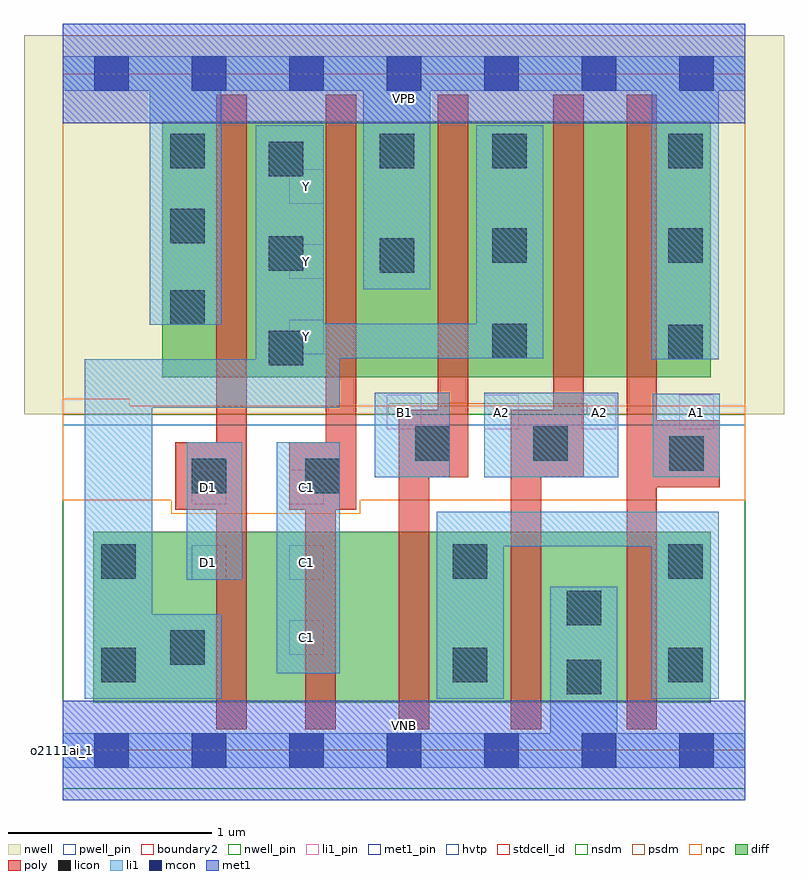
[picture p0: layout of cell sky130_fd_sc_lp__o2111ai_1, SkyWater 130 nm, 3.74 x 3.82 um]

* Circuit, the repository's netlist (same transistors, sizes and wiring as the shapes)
* Copyright 2020 The SkyWater PDK Authors
*
* Licensed under the Apache License, Version 2.0 (the "License");
* you may not use this file except in compliance with the License.
* You may obtain a copy of the License at
*
*     https://www.apache.org/licenses/LICENSE-2.0
*
* Unless required by applicable law or agreed to in writing, software
* distributed under the License is distributed on an "AS IS" BASIS,
* WITHOUT WARRANTIES OR CONDITIONS OF ANY KIND, either express or implied.
* See the License for the specific language governing permissions and
* limitations under the License.
*
* SPDX-License-Identifier: Apache-2.0

.SUBCKT sky130_fd_sc_lp__o2111ai_1 A1 A2 B1 C1 D1 VGND VNB VPB VPWR Y
*.PININFO A1:I A2:I B1:I C1:I D1:I VGND:I VNB:I VPB:I VPWR:I Y:O
MMPA0 VPWR A1 sndA1 VPB sky130_fd_pr__pfet_01v8_hvt m=1 w=1.26U l=0.15U mult=1
+ sa=0.265 sb=0.265 sd=0.28 area=0.063 perim=1.14
MMPA1 sndA1 A2 Y VPB sky130_fd_pr__pfet_01v8_hvt m=1 w=1.26U l=0.15U mult=1 sa=0.265
+ sb=0.265 sd=0.28 area=0.063 perim=1.14
MMPB0 VPWR B1 Y VPB sky130_fd_pr__pfet_01v8_hvt m=1 w=1.26U l=0.15U mult=1 sa=0.265
+ sb=0.265 sd=0.28 area=0.063 perim=1.14
MMPC0 VPWR C1 Y VPB sky130_fd_pr__pfet_01v8_hvt m=1 w=1.26U l=0.15U mult=1 sa=0.265
+ sb=0.265 sd=0.28 area=0.063 perim=1.14
MMPD0 VPWR D1 Y VPB sky130_fd_pr__pfet_01v8_hvt m=1 w=1.26U l=0.15U mult=1 sa=0.265
+ sb=0.265 sd=0.28 area=0.063 perim=1.14
MMNA0 pndA A1 VGND VNB sky130_fd_pr__nfet_01v8 m=1 w=0.84U l=0.15U mult=1 sa=0.265
+ sb=0.265 sd=0.28 area=0.063 perim=1.14
MMNA1 pndA A2 VGND VNB sky130_fd_pr__nfet_01v8 m=1 w=0.84U l=0.15U mult=1 sa=0.265
+ sb=0.265 sd=0.28 area=0.063 perim=1.14
MMNB0 pndB B1 pndA VNB sky130_fd_pr__nfet_01v8 m=1 w=0.84U l=0.15U mult=1 sa=0.265
+ sb=0.265 sd=0.28 area=0.063 perim=1.14
MMNC0 pndC C1 pndB VNB sky130_fd_pr__nfet_01v8 m=1 w=0.84U l=0.15U mult=1 sa=0.265
+ sb=0.265 sd=0.28 area=0.063 perim=1.14
MMND0 Y D1 pndC VNB sky130_fd_pr__nfet_01v8 m=1 w=0.84U l=0.15U mult=1 sa=0.265
+ sb=0.265 sd=0.28 area=0.063 perim=1.14
.ENDS sky130_fd_sc_lp__o2111ai_1

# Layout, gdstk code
import gdstk
lib = gdstk.Library(unit=1e-6, precision=1e-09)
def R(c, l, rs):  # rectangles x0, y0, x1, y1
    for r in rs: c.add(gdstk.rectangle(r[:2], r[2:], *l))
def A(c, l, x, y, w, h, nx, ny, dx, dy):  # array of equal rectangles
    R(c, l, [(x+i*dx, y+j*dy, x+i*dx+w, y+j*dy+h) for i in range(nx) for j in range(ny)])
def P(c, l, *ps):  # polygons
    for p in ps: c.add(gdstk.Polygon(p, *l))
nwell_pin = (64, 16)
nwell = (64, 20)
diff = (65, 20)
poly = (66, 20)
licon = (66, 44)
li1_pin = (67, 16)
li1 = (67, 20)
mcon = (67, 44)
met1_pin = (68, 16)
met1 = (68, 20)
hvtp = (78, 44)
stdcell_id = (81, 4)
nsdm = (93, 44)
psdm = (94, 20)
npc = (95, 20)
pwell_pin = (122, 16)
boundary2 = (236, 0)

sky130_fd_sc_lp__o2111ai = lib.new_cell('sky130_fd_sc_lp__o2111ai_1')
R(sky130_fd_sc_lp__o2111ai, nwell_pin, [(0,3.085,3.36,3.33)])
R(sky130_fd_sc_lp__o2111ai, nwell, [(-0.19,1.655,3.55,3.52)])
R(sky130_fd_sc_lp__o2111ai, diff, [(0.15,0.235,3.19,1.075), (0.49,1.835,3.19,3.095)])
P(sky130_fd_sc_lp__o2111ai, poly, [(1.445,3.225),(1.295,3.225),(1.295,1.515),(1.115,1.515),(1.115,1.185),(1.195,1.185),(1.195,0.105),(1.345,0.105),(1.345,1.185),(1.445,1.185)],
  [(0.905,3.225),(0.755,3.225),(0.755,1.515),(0.555,1.515),(0.555,1.185),(0.755,1.185),(0.755,0.105),(0.905,0.105)],
  [(2.565,3.225),(2.415,3.225),(2.415,1.675),(2.205,1.675),(2.205,0.105),(2.355,0.105),(2.355,1.345),(2.565,1.345)],
  [(3.235,1.625),(2.925,1.625),(2.925,3.225),(2.775,3.225),(2.775,0.105),(2.925,0.105),(2.925,1.295),(3.235,1.295)],
  [(1.995,3.225),(1.845,3.225),(1.845,1.675),(1.655,1.675),(1.655,0.105),(1.805,0.105),(1.805,1.345),(1.995,1.345)])
A(sky130_fd_sc_lp__o2111ai, licon, 1.015, 1.895, 0.17, 0.17, 1, 3, 0, 0.465)
R(sky130_fd_sc_lp__o2111ai, licon, [(2.48,0.275,2.65,0.445), (0.19,0.335,0.36,0.505), (1.92,0.335,2.09,0.505), (2.98,0.335,3.15,0.505), (0.53,0.42,0.7,0.59), (2.48,0.615,2.65,0.785), (0.19,0.845,0.36,1.015), (1.92,0.845,2.09,1.015), (2.98,0.845,3.15,1.015), (0.635,1.265,0.805,1.435), (1.195,1.265,1.365,1.435), (2.985,1.375,3.155,1.545), (1.735,1.425,1.905,1.595), (2.315,1.425,2.485,1.595), (2.98,1.925,3.15,2.095), (2.115,1.93,2.285,2.1), (0.53,2.095,0.7,2.265), (1.56,2.35,1.73,2.52), (2.115,2.4,2.285,2.57), (2.98,2.4,3.15,2.57), (0.53,2.495,0.7,2.665), (0.53,2.865,0.7,3.035), (1.56,2.865,1.73,3.035), (2.115,2.865,2.285,3.035), (2.98,2.865,3.15,3.035)])
A(sky130_fd_sc_lp__o2111ai, li1_pin, 1.115, 0.47, 0.17, 0.17, 1, 3, 0, 0.37)
A(sky130_fd_sc_lp__o2111ai, li1_pin, 1.595, 1.58, 0.17, 0.17, 4, 1, 0.48, 0)
A(sky130_fd_sc_lp__o2111ai, li1_pin, 1.115, 1.95, 0.17, 0.17, 1, 3, 0, 0.37)
R(sky130_fd_sc_lp__o2111ai, li1_pin, [(0.635,0.84,0.805,1.01), (0.635,1.21,0.805,1.38)])
R(sky130_fd_sc_lp__o2111ai, li1, [(1.055,0.38,1.365,1.515), (0.61,0.84,0.885,1.515), (1.535,1.345,1.905,1.76), (2.075,1.345,2.735,1.76), (2.905,1.345,3.235,1.755)])
P(sky130_fd_sc_lp__o2111ai, li1, [(2.365,3.075),(2.035,3.075),(2.035,2.1),(1.285,2.1),(1.285,3.075),(0.95,3.075),(0.95,1.925),(0.11,1.925),(0.11,0.255),(0.78,0.255),(0.78,0.67),(0.44,0.67),(0.44,1.685),(1.365,1.685),(1.365,1.93),(2.365,1.93)],
  [(3.36,3.415),(0,3.415),(0,3.245),(0.43,3.245),(0.43,2.095),(0.78,2.095),(0.78,3.245),(1.48,3.245),(1.48,2.27),(1.81,2.27),(1.81,3.245),(2.9,3.245),(2.9,1.925),(3.23,1.925),(3.23,3.245),(3.36,3.245)],
  [(3.36,0.085),(2.73,0.085),(2.73,0.805),(2.4,0.805),(2.4,0.085),(0,0.085),(0,-0.085),(3.36,-0.085)],
  [(3.23,1.175),(1.84,1.175),(1.84,0.255),(2.17,0.255),(2.17,1.005),(2.9,1.005),(2.9,0.255),(3.23,0.255)])
A(sky130_fd_sc_lp__o2111ai, mcon, 0.155, -0.085, 0.17, 0.17, 7, 2, 0.48, 3.33)
R(sky130_fd_sc_lp__o2111ai, met1_pin, [(0,0,3.36,0.245), (0,3.085,3.36,3.33)])
R(sky130_fd_sc_lp__o2111ai, met1, [(0,-0.245,3.36,0.245), (0,3.085,3.36,3.575)])
R(sky130_fd_sc_lp__o2111ai, hvtp, [(0,1.6,3.36,3.33)])
R(sky130_fd_sc_lp__o2111ai, stdcell_id, [(0,0,3.36,3.33)])
R(sky130_fd_sc_lp__o2111ai, nsdm, [(0,-0.19,3.36,1.655)])
P(sky130_fd_sc_lp__o2111ai, psdm, [(3.36,3.52),(0,3.52),(0,1.655),(1.605,1.655),(1.605,1.705),(2.58,1.705),(2.58,1.655),(3.36,1.655)])
P(sky130_fd_sc_lp__o2111ai, npc, [(3.36,1.695),(0.33,1.695),(0.33,1.73),(0,1.73),(0,1.23),(0.535,1.23),(0.535,1.165),(1.465,1.165),(1.465,1.23),(3.36,1.23)])
R(sky130_fd_sc_lp__o2111ai, pwell_pin, [(0,0,3.36,0.245)])
R(sky130_fd_sc_lp__o2111ai, boundary2, [(0,0,3.36,3.33)])
sky130_fd_sc_lp__o2111ai.add(gdstk.Label('VNB', (1.68,0.123), layer=64, texttype=59))
sky130_fd_sc_lp__o2111ai.add(gdstk.Label('VPB', (1.68,3.208), layer=64, texttype=5))
sky130_fd_sc_lp__o2111ai.add(gdstk.Label('o2111ai_1', (0,0), layer=83, texttype=44))
sky130_fd_sc_lp__o2111ai.add(gdstk.Label('VPWR', (1.68,3.208), layer=68, texttype=5))
sky130_fd_sc_lp__o2111ai.add(gdstk.Label('VGND', (1.68,0.123), layer=68, texttype=5))
sky130_fd_sc_lp__o2111ai.add(gdstk.Label('A1', (3.12,1.665), layer=67, texttype=5))
sky130_fd_sc_lp__o2111ai.add(gdstk.Label('A2', (2.16,1.665), layer=67, texttype=5))
sky130_fd_sc_lp__o2111ai.add(gdstk.Label('A2', (2.64,1.665), layer=67, texttype=5))
sky130_fd_sc_lp__o2111ai.add(gdstk.Label('B1', (1.68,1.665), layer=67, texttype=5))
sky130_fd_sc_lp__o2111ai.add(gdstk.Label('C1', (1.2,0.555), layer=67, texttype=5))
sky130_fd_sc_lp__o2111ai.add(gdstk.Label('C1', (1.2,0.925), layer=67, texttype=5))
sky130_fd_sc_lp__o2111ai.add(gdstk.Label('C1', (1.2,1.295), layer=67, texttype=5))
sky130_fd_sc_lp__o2111ai.add(gdstk.Label('D1', (0.72,0.925), layer=67, texttype=5))
sky130_fd_sc_lp__o2111ai.add(gdstk.Label('D1', (0.72,1.295), layer=67, texttype=5))
sky130_fd_sc_lp__o2111ai.add(gdstk.Label('Y', (1.2,2.035), layer=67, texttype=5))
sky130_fd_sc_lp__o2111ai.add(gdstk.Label('Y', (1.2,2.405), layer=67, texttype=5))
sky130_fd_sc_lp__o2111ai.add(gdstk.Label('Y', (1.2,2.775), layer=67, texttype=5))

lib.write_gds('sky130_fd_sc_lp__o2111ai_1.gds')
